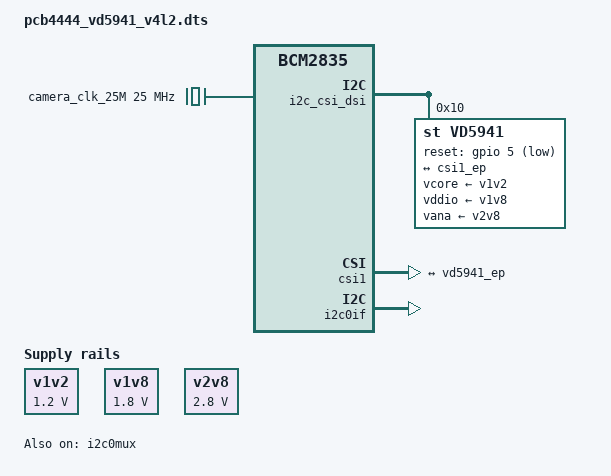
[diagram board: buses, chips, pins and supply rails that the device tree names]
// SPDX-License-Identifier: GPL-2.0-only
/dts-v1/;
/plugin/;

/{
	compatible = "brcm,bcm2835";

	fragment@0 {
		target-path="/";
		__overlay__ {
			camera_clk_25M: camera_clk_25M {
				#clock-cells = <0>;
				compatible = "fixed-clock";
				clock-frequency = <25000000>;
			};

			v1v2: v1v2 {
				compatible = "regulator-fixed";
				regulator-name = "fixed-supply-1v2";
				regulator-min-microvolt = <1200000>;
				regulator-max-microvolt = <1200000>;
			};

			v1v8: v1v8 {
				compatible = "regulator-fixed";
				regulator-name = "fixed-supply-1v8";
				regulator-min-microvolt = <1800000>;
				regulator-max-microvolt = <1800000>;
			};

			v2v8: v2v8 {
				compatible = "regulator-fixed";
				regulator-name = "fixed-supply-2v8";
				regulator-min-microvolt = <2800000>;
				regulator-max-microvolt = <2800000>;
			};
		};
	};

	fragment@1 {
		target = <&i2c_csi_dsi>;
		__overlay__ {
			#address-cells = <1>;
			#size-cells = <0>;
			status = "okay";

			vd5941: vd5941@10 {
				status = "ok";
				compatible = "st,vd5941";
				reg = <0x10>;

				clocks = <&camera_clk_25M>;
				clock-names = "xclk";

				vcore-supply = <&v1v2>;
				vddio-supply = <&v1v8>;
				vana-supply = <&v2v8>;

				reset-gpios = <&gpio 5 1>;

				orientation = <2>;
				rotation = <0>;

				port {
					vd5941_ep: endpoint {
						clock-lanes = <0>;
						data-lanes = <1 2>;
						remote-endpoint = <&csi1_ep>;
						clock-noncontinuous;
						link-frequencies = /bits/ 64 <750000000>;
						lane-polarities = <1 1 1>;
					};
				};
			};
		};
	};

	fragment@2 {
		target = <&csi1>;
		__overlay__ {
			status = "okay";

			port {
				csi1_ep: endpoint {
					remote-endpoint = <&vd5941_ep>;
					clock-lanes = <0>;
					data-lanes = <1 2>;
					clock-noncontinuous;
				};
			};
		};
	};

	fragment@3 {
		target = <&i2c0if>;
		__overlay__ {
			status = "okay";
		};
	};

	fragment@4 {
		target = <&i2c0mux>;
		__overlay__ {
			status = "okay";
		};
	};

	fragment@5 {
		target = <&cam1_reg>;
		__overlay__ {
			status = "disable";
		};
	};

	fragment@6 {
		target-path="/__overrides__";
		__overlay__ {
			cam0-pwdn-ctrl = <&vd5941>,"reset-gpios:0";
			cam0-pwdn      = <&vd5941>,"reset-gpios:4";
		};
	};
};
